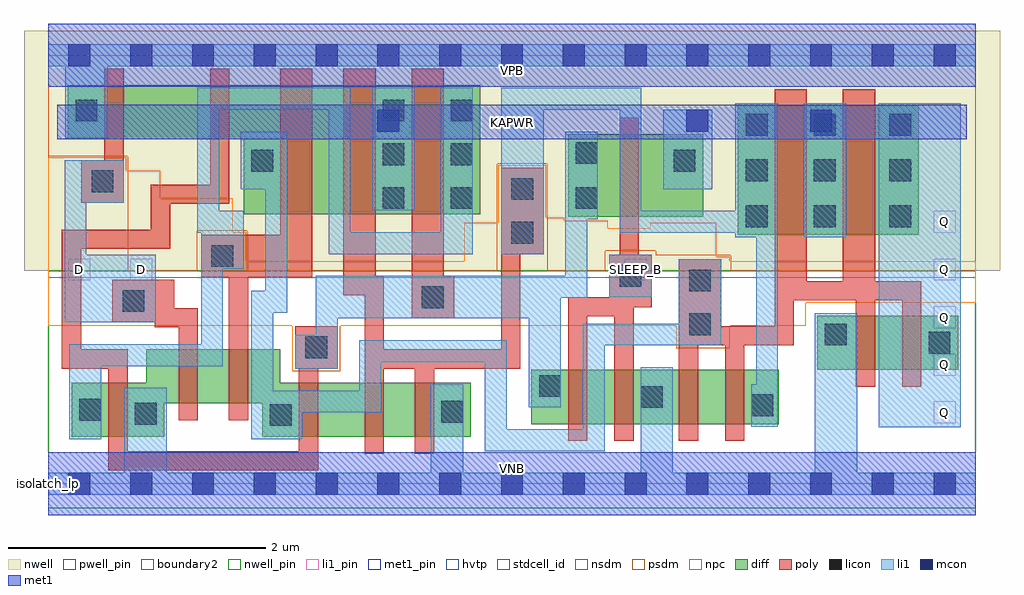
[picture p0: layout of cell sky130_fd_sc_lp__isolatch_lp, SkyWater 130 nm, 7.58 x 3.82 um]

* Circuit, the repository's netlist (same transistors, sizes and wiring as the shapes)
* Copyright 2020 The SkyWater PDK Authors
*
* Licensed under the Apache License, Version 2.0 (the "License");
* you may not use this file except in compliance with the License.
* You may obtain a copy of the License at
*
*     https://www.apache.org/licenses/LICENSE-2.0
*
* Unless required by applicable law or agreed to in writing, software
* distributed under the License is distributed on an "AS IS" BASIS,
* WITHOUT WARRANTIES OR CONDITIONS OF ANY KIND, either express or implied.
* See the License for the specific language governing permissions and
* limitations under the License.
*
* SPDX-License-Identifier: Apache-2.0

.SUBCKT sky130_fd_sc_lp__isolatch_lp D SLEEP_B KAPWR VGND VNB VPB VPWR Q
*.PININFO D:I SLEEP_B:I KAPWR:I VGND:I VNB:I VPB:I VPWR:I Q:O
MI673 net53 net47 net81 VNB sky130_fd_pr__nfet_01v8 m=1 w=0.42U l=0.15U mult=1
+ sa=0.265 sb=0.265 sd=0.28 area=0.063 perim=1.14
MI677 Q s0 net50 VNB sky130_fd_pr__nfet_01v8 m=1 w=0.42U l=0.15U mult=1 sa=0.265
+ sb=0.265 sd=0.28 area=0.063 perim=1.14
MI636 sleepneg sleeppos VGND VNB sky130_fd_pr__nfet_01v8 m=1 w=0.42U l=0.15U mult=1
+ sa=0.265 sb=0.265 sd=0.28 area=0.063 perim=1.14
MI674 net47 s0 net69 VNB sky130_fd_pr__nfet_01v8 m=1 w=0.42U l=0.15U mult=1 sa=0.265
+ sb=0.265 sd=0.28 area=0.063 perim=1.14
MI19 s0 sleepneg net65 VNB sky130_fd_pr__nfet_01v8 m=1 w=0.42U l=0.15U mult=1 sa=0.265
+ sb=0.265 sd=0.28 area=0.063 perim=1.14
MI20 net65 D VGND VNB sky130_fd_pr__nfet_01v8 m=1 w=0.42U l=0.15U mult=1 sa=0.265
+ sb=0.265 sd=0.28 area=0.063 perim=1.14
MI656 net69 s0 VGND VNB sky130_fd_pr__nfet_01v8 m=1 w=0.42U l=0.15U mult=1 sa=0.265
+ sb=0.265 sd=0.28 area=0.063 perim=1.14
MI655 s0 sleeppos net53 VNB sky130_fd_pr__nfet_01v8 m=1 w=0.42U l=0.15U mult=1
+ sa=0.265 sb=0.265 sd=0.28 area=0.063 perim=1.14
MI652 net50 s0 VGND VNB sky130_fd_pr__nfet_01v8 m=1 w=0.42U l=0.15U mult=1 sa=0.265
+ sb=0.265 sd=0.28 area=0.063 perim=1.14
MI654 net81 net47 VGND VNB sky130_fd_pr__nfet_01v8 m=1 w=0.42U l=0.15U mult=1 sa=0.265
+ sb=0.265 sd=0.28 area=0.063 perim=1.14
MI671 net37 SLEEP_B VGND VNB sky130_fd_pr__nfet_01v8 m=1 w=0.42U l=0.15U mult=1
+ sa=0.265 sb=0.265 sd=0.28 area=0.063 perim=1.14
MI670 sleeppos SLEEP_B net37 VNB sky130_fd_pr__nfet_01v8 m=1 w=0.42U l=0.15U mult=1
+ sa=0.265 sb=0.265 sd=0.28 area=0.063 perim=1.14
MI643 sleeppos SLEEP_B KAPWR VPB sky130_fd_pr__pfet_01v8_hvt m=1 w=0.64U l=0.15U
+ mult=1 sa=0.265 sb=0.265 sd=0.28 area=0.063
+ perim=1.14
MI635 sleepneg sleeppos KAPWR VPB sky130_fd_pr__pfet_01v8_hvt m=1 w=1.0U l=0.25U
+ mult=1 sa=0.265 sb=0.265 sd=0.28 area=0.063
+ perim=1.14
MI662 net106 net47 KAPWR VPB sky130_fd_pr__pfet_01v8_hvt m=1 w=1.0U l=0.25U mult=1
+ sa=0.265 sb=0.265 sd=0.28 area=0.063 perim=1.14
MI664 s0 sleepneg net106 VPB sky130_fd_pr__pfet_01v8_hvt m=1 w=1.0U l=0.25U mult=1
+ sa=0.265 sb=0.265 sd=0.28 area=0.063 perim=1.14
MI658 net47 s0 KAPWR VPB sky130_fd_pr__pfet_01v8_hvt m=1 w=1.0U l=0.25U mult=1
+ sa=0.265 sb=0.265 sd=0.28 area=0.063 perim=1.14
MI663 Q s0 KAPWR VPB sky130_fd_pr__pfet_01v8_hvt m=1 w=1.0U l=0.25U mult=1 sa=0.265
+ sb=0.265 sd=0.28 area=0.063 perim=1.14
MI17 s0 sleeppos net86 VPB sky130_fd_pr__pfet_01v8_hvt m=1 w=0.42U l=0.15U mult=1
+ sa=0.265 sb=0.265 sd=0.28 area=0.063 perim=1.14
MI18 net86 D VPWR VPB sky130_fd_pr__pfet_01v8_hvt m=1 w=0.42U l=0.15U mult=1 sa=0.265
+ sb=0.265 sd=0.28 area=0.063 perim=1.14
.ENDS sky130_fd_sc_lp__isolatch_lp

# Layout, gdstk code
import gdstk
lib = gdstk.Library(unit=1e-6, precision=1e-09)
def R(c, l, rs):  # rectangles x0, y0, x1, y1
    for r in rs: c.add(gdstk.rectangle(r[:2], r[2:], *l))
def A(c, l, x, y, w, h, nx, ny, dx, dy):  # array of equal rectangles
    R(c, l, [(x+i*dx, y+j*dy, x+i*dx+w, y+j*dy+h) for i in range(nx) for j in range(ny)])
def P(c, l, *ps):  # polygons
    for p in ps: c.add(gdstk.Polygon(p, *l))
nwell_pin = (64, 16)
nwell = (64, 20)
diff = (65, 20)
poly = (66, 20)
licon = (66, 44)
li1_pin = (67, 16)
li1 = (67, 20)
mcon = (67, 44)
met1_pin = (68, 16)
met1 = (68, 20)
hvtp = (78, 44)
stdcell_id = (81, 4)
nsdm = (93, 44)
psdm = (94, 20)
npc = (95, 20)
pwell_pin = (122, 16)
boundary2 = (236, 0)

sky130_fd_sc_lp__isolatc = lib.new_cell('sky130_fd_sc_lp__isolatch_lp')
R(sky130_fd_sc_lp__isolatc, nwell_pin, [(0,3.085,7.2,3.33)])
R(sky130_fd_sc_lp__isolatc, nwell, [(-0.19,1.655,7.39,3.52)])
R(sky130_fd_sc_lp__isolatc, diff, [(3.75,0.465,5.67,0.885), (5.97,0.885,7.065,1.305), (5.355,1.935,6.76,2.935), (4.035,2.075,5.085,2.715)])
P(sky130_fd_sc_lp__isolatc, diff, [(3.28,0.785),(1.8,0.785),(1.8,1.045),(0.76,1.045),(0.76,0.785),(0.18,0.785),(0.18,0.365),(0.9,0.365),(0.9,0.625),(1.66,0.625),(1.66,0.365),(3.28,0.365)],
  [(3.355,3.095),(0.15,3.095),(0.15,2.675),(1.515,2.675),(1.515,2.095),(3.355,2.095)])
P(sky130_fd_sc_lp__isolatc, poly, [(0.585,3.225),(0.435,3.225),(0.435,2.515),(0.255,2.515),(0.255,2.185),(0.585,2.185)],
  [(1.16,1.365),(0.975,1.365),(0.975,1.585),(0.495,1.585),(0.495,1.255),(0.825,1.255),(0.825,1.215),(1.01,1.215),(1.01,0.495),(1.16,0.495)],
  [(2.05,3.225),(1.8,3.225),(1.8,1.935),(1.185,1.935),(1.185,1.605),(1.4,1.605),(1.4,0.495),(1.55,0.495),(1.55,1.605),(2.05,1.605)],
  [(2.245,1.225),(1.915,1.225),(1.915,0.895),(1.945,0.895),(1.945,0.255),(0.615,0.255),(0.615,1.045),(0.255,1.045),(0.255,1.825),(0.945,1.825),(0.945,2.175),(1.405,2.175),(1.405,3.225),(1.255,3.225),(1.255,2.325),(0.795,2.325),(0.795,1.975),(0.105,1.975),(0.105,0.895),(0.465,0.895),(0.465,0.105),(2.095,0.105),(2.095,0.895),(2.245,0.895)],
  [(3.15,1.615),(3.07,1.615),(3.07,3.225),(2.82,3.225),(2.82,1.285),(3.15,1.285)],
  [(3.845,2.455),(3.515,2.455),(3.515,1.045),(2.605,1.045),(2.605,1.615),(2.54,1.615),(2.54,3.225),(2.29,3.225),(2.29,1.465),(2.455,1.465),(2.455,0.235),(2.605,0.235),(2.605,0.895),(2.845,0.895),(2.845,0.235),(2.995,0.235),(2.995,0.895),(3.665,0.895),(3.665,1.785),(3.845,1.785)],
  [(4.685,1.78),(4.585,1.78),(4.585,2.845),(4.435,2.845),(4.435,1.78),(4.355,1.78),(4.355,1.45),(4.035,1.45),(4.035,0.335),(4.185,0.335),(4.185,1.3),(4.395,1.3),(4.395,0.335),(4.545,0.335),(4.545,1.37),(4.685,1.37)],
  [(6.78,1.575),(6.42,1.575),(6.42,3.065),(6.17,3.065),(6.17,1.575),(5.89,1.575),(5.89,3.065),(5.64,3.065),(5.64,1.225),(5.225,1.225),(5.225,1.745),(4.895,1.745),(4.895,0.335),(5.045,0.335),(5.045,1.075),(5.255,1.075),(5.255,0.335),(5.405,0.335),(5.405,1.075),(5.79,1.075),(5.79,1.425),(6.27,1.425),(6.27,0.755),(6.42,0.755),(6.42,1.425),(6.63,1.425),(6.63,0.755),(6.78,0.755)])
A(sky130_fd_sc_lp__isolatc, licon, 5.415, 1.995, 0.17, 0.17, 1, 3, 0, 0.355)
A(sky130_fd_sc_lp__isolatc, licon, 5.945, 1.995, 0.17, 0.17, 1, 3, 0, 0.355)
A(sky130_fd_sc_lp__isolatc, licon, 6.53, 1.995, 0.17, 0.17, 1, 3, 0, 0.355)
A(sky130_fd_sc_lp__isolatc, licon, 2.595, 2.135, 0.17, 0.17, 1, 3, 0, 0.34)
A(sky130_fd_sc_lp__isolatc, licon, 3.125, 2.135, 0.17, 0.17, 1, 3, 0, 0.34)
R(sky130_fd_sc_lp__isolatc, licon, [(1.72,0.45,1.89,0.62), (0.67,0.46,0.84,0.63), (3.05,0.475,3.22,0.645), (0.24,0.49,0.41,0.66), (5.46,0.525,5.63,0.695), (4.6,0.59,4.77,0.76), (3.81,0.675,3.98,0.845), (1.995,0.975,2.165,1.145), (6.835,1.01,7.005,1.18), (6.03,1.075,6.2,1.245), (4.975,1.155,5.145,1.325), (0.575,1.335,0.745,1.505), (2.9,1.365,3.07,1.535), (4.975,1.495,5.145,1.665), (4.435,1.53,4.605,1.7), (1.265,1.685,1.435,1.855), (3.595,1.865,3.765,2.035), (4.095,2.135,4.265,2.305), (3.595,2.205,3.765,2.375), (0.335,2.265,0.505,2.435), (1.575,2.425,1.745,2.595), (4.855,2.425,5.025,2.595), (4.095,2.485,4.265,2.655), (0.21,2.815,0.38,2.985)])
A(sky130_fd_sc_lp__isolatc, li1_pin, 6.875, 0.47, 0.17, 0.17, 1, 5, 0, 0.37)
R(sky130_fd_sc_lp__isolatc, li1_pin, [(0.155,1.58,0.325,1.75), (0.635,1.58,0.805,1.75), (4.475,1.58,4.645,1.75)])
R(sky130_fd_sc_lp__isolatc, li1, [(6.45,0.44,7.085,2.955), (4.355,1.45,4.685,1.78), (5.865,1.915,6.195,2.955), (2.515,2.125,2.845,3.075), (4.775,2.29,5.155,2.905)])
P(sky130_fd_sc_lp__isolatc, li1, [(0.13,2.685),(0.13,3.245),(0,3.245),(0,3.415),(7.2,3.415),(7.2,3.245),(0.46,3.245),(0.46,2.685)],
  [(4.6,0.085),(4.6,0.905),(4.85,0.905),(4.85,0.085),(5.95,0.085),(5.95,1.325),(6.28,1.325),(6.28,0.085),(7.2,0.085),(7.2,-0.085),(0,-0.085),(0,0.085),(0.59,0.085),(0.59,0.745),(0.92,0.745),(0.92,0.085),(2.97,0.085),(2.97,0.775),(3.22,0.775),(3.22,0.085)],
  [(4.265,2.735),(4.015,2.735),(4.015,1.615),(2.075,1.615),(2.075,1.16),(1.915,1.16),(1.915,0.895),(2.245,0.895),(2.245,1.285),(3.73,1.285),(3.73,0.595),(3.98,0.595),(3.98,1.445),(4.185,1.445),(4.185,2.055),(4.265,2.055)],
  [(4.32,1.075),(4.32,0.255),(3.39,0.255),(3.39,0.945),(2.585,0.945),(2.585,0.555),(1.97,0.555),(1.97,0.345),(1.575,0.345),(1.575,1.5),(1.685,1.5),(1.685,2.29),(1.495,2.29),(1.495,2.735),(1.855,2.735),(1.855,1.33),(1.745,1.33),(1.745,0.725),(2.415,0.725),(2.415,1.115),(3.56,1.115),(3.56,0.425),(4.15,0.425),(4.15,1.245),(4.895,1.245),(4.895,1.745),(5.225,1.745),(5.225,1.075)],
  [(2.345,3.075),(2.345,1.955),(3.045,1.955),(3.045,3.075),(3.295,3.075),(3.295,1.785),(2.175,1.785),(2.175,2.905),(1.325,2.905),(1.325,2.12),(1.515,2.12),(1.515,1.67),(1.355,1.67),(1.355,0.915),(0.41,0.915),(0.41,0.345),(0.16,0.345),(0.16,1.085),(1.185,1.085),(1.185,1.95),(1.155,1.95),(1.155,3.075)],
  [(5.335,1.915),(5.335,1.95),(4.435,1.95),(4.435,2.905),(3.845,2.905),(3.845,1.785),(3.515,1.785),(3.515,3.075),(4.605,3.075),(4.605,2.12),(5.335,2.12),(5.335,2.955),(5.665,2.955),(5.665,0.445),(5.46,0.445),(5.46,0.775),(5.495,0.775),(5.495,1.915)],
  [(0.125,1.255),(0.125,2.515),(0.585,2.515),(0.585,2.185),(0.295,2.185),(0.295,1.78),(0.835,1.78),(0.835,1.255)])
A(sky130_fd_sc_lp__isolatc, mcon, 0.155, -0.085, 0.17, 0.17, 15, 2, 0.48, 3.33)
R(sky130_fd_sc_lp__isolatc, mcon, [(2.555,2.735,2.725,2.905), (4.955,2.735,5.125,2.905), (5.915,2.735,6.085,2.905)])
R(sky130_fd_sc_lp__isolatc, met1_pin, [(0,0,7.2,0.245), (0.07,2.675,7.13,2.945), (0,3.085,7.2,3.33)])
R(sky130_fd_sc_lp__isolatc, met1, [(0,-0.245,7.2,0.245), (0.07,2.675,7.13,2.945), (0,3.085,7.2,3.575)])
R(sky130_fd_sc_lp__isolatc, hvtp, [(0,1.6,7.2,3.33)])
R(sky130_fd_sc_lp__isolatc, stdcell_id, [(0,0,7.2,3.33)])
R(sky130_fd_sc_lp__isolatc, nsdm, [(0,-0.19,7.2,1.655)])
P(sky130_fd_sc_lp__isolatc, psdm, [(7.2,3.52),(0,3.52),(0,2.545),(0.615,2.545),(0.615,1.655),(1.155,1.655),(1.155,1.965),(1.545,1.965),(1.545,1.655),(3.485,1.655),(3.485,2.485),(3.875,2.485),(3.875,1.655),(4.325,1.655),(4.325,1.81),(4.715,1.81),(4.715,1.775),(5.3,1.775),(5.3,1.655),(7.2,1.655)])
P(sky130_fd_sc_lp__isolatc, npc, [(7.2,1.73),(5.29,1.73),(5.29,1.765),(5.185,1.765),(5.185,2.03),(4.675,2.03),(4.675,1.985),(4.345,1.985),(4.345,2.045),(4.005,2.045),(4.005,2.065),(3.865,2.065),(3.865,2.475),(3.495,2.475),(3.495,2.03),(3.23,2.03),(3.23,1.73),(1.535,1.73),(1.535,1.955),(1.43,1.955),(1.43,2.22),(0.87,2.22),(0.87,2.43),(0.605,2.43),(0.605,2.535),(0,2.535),(0,1.23),(1.895,1.23),(1.895,0.875),(2.265,0.875),(2.265,1.23),(4.875,1.23),(4.875,1.055),(5.29,1.055),(5.29,1.23),(5.88,1.23),(5.88,1.405),(7.2,1.405)])
R(sky130_fd_sc_lp__isolatc, pwell_pin, [(0,0,7.2,0.245)])
R(sky130_fd_sc_lp__isolatc, boundary2, [(0,0,7.2,3.33)])
sky130_fd_sc_lp__isolatc.add(gdstk.Label('VNB', (3.6,0.123), layer=64, texttype=59))
sky130_fd_sc_lp__isolatc.add(gdstk.Label('VPB', (3.6,3.208), layer=64, texttype=5))
sky130_fd_sc_lp__isolatc.add(gdstk.Label('isolatch_lp', (0,0), layer=83, texttype=44))
sky130_fd_sc_lp__isolatc.add(gdstk.Label('KAPWR', (3.6,2.81), layer=68, texttype=5))
sky130_fd_sc_lp__isolatc.add(gdstk.Label('VPWR', (3.6,3.208), layer=68, texttype=5))
sky130_fd_sc_lp__isolatc.add(gdstk.Label('VGND', (3.6,0.123), layer=68, texttype=5))
sky130_fd_sc_lp__isolatc.add(gdstk.Label('SLEEP_B', (4.56,1.665), layer=67, texttype=5))
sky130_fd_sc_lp__isolatc.add(gdstk.Label('D', (0.24,1.665), layer=67, texttype=5))
sky130_fd_sc_lp__isolatc.add(gdstk.Label('D', (0.72,1.665), layer=67, texttype=5))
sky130_fd_sc_lp__isolatc.add(gdstk.Label('Q', (6.96,0.555), layer=67, texttype=5))
sky130_fd_sc_lp__isolatc.add(gdstk.Label('Q', (6.96,0.925), layer=67, texttype=5))
sky130_fd_sc_lp__isolatc.add(gdstk.Label('Q', (6.96,1.295), layer=67, texttype=5))
sky130_fd_sc_lp__isolatc.add(gdstk.Label('Q', (6.96,1.665), layer=67, texttype=5))
sky130_fd_sc_lp__isolatc.add(gdstk.Label('Q', (6.96,2.035), layer=67, texttype=5))

lib.write_gds('sky130_fd_sc_lp__isolatch_lp.gds')
